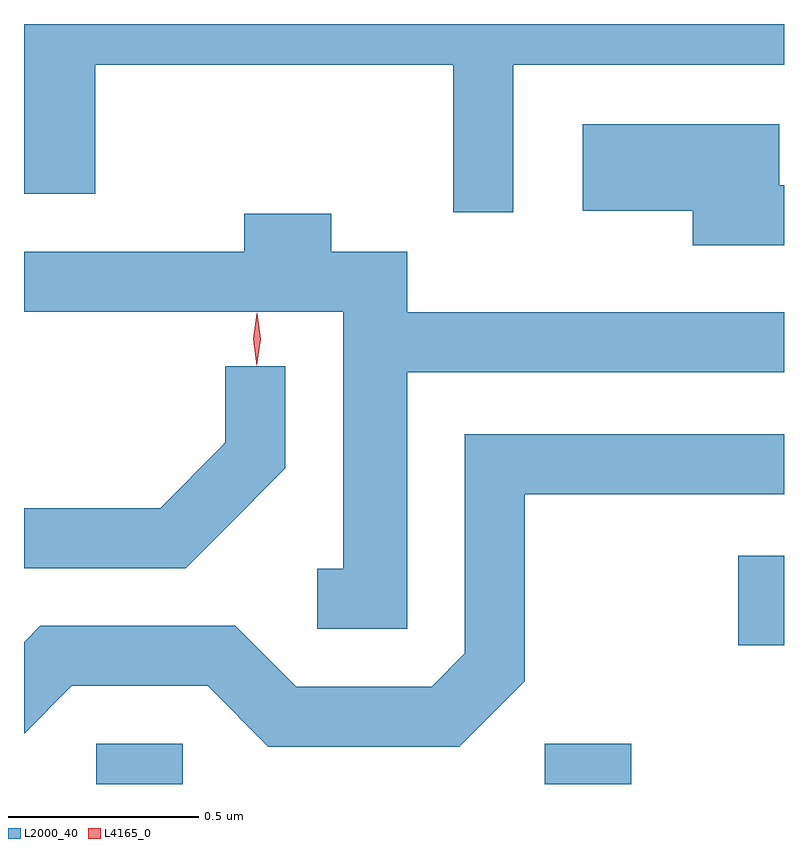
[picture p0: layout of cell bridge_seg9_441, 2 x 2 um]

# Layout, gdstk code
import gdstk
lib = gdstk.Library(unit=1e-6, precision=1e-09)
def R(c, l, rs):  # rectangles x0, y0, x1, y1
    for r in rs: c.add(gdstk.rectangle(r[:2], r[2:], *l))
def P(c, l, *ps):  # polygons
    for p in ps: c.add(gdstk.Polygon(p, *l))
L2000_40 = (2000, 40)
L4165_0 = (4165, 0)

bridge_seg9_441 = lib.new_cell('bridge_seg9_441')
R(bridge_seg9_441, L2000_40, [(523.681,2025.443,523.909,2025.549), (524.861,2025.443,525.089,2025.549), (525.371,2025.808,525.491,2026.044)])
P(bridge_seg9_441, L2000_40, [(524.779,2027.336),(525.491,2027.336),(525.491,2027.443),(523.491,2027.443),(523.491,2026.996),(523.679,2026.996),(523.679,2027.336),(524.621,2027.336),(524.621,2026.948),(524.779,2026.948)],
  [(525.491,2027.019),(525.479,2027.019),(525.479,2027.179),(524.961,2027.179),(524.961,2026.951),(525.251,2026.951),(525.251,2026.861),(525.491,2026.861)],
  [(524.499,2026.526),(525.491,2026.526),(525.491,2026.684),(524.499,2026.684),(524.499,2026.844),(524.299,2026.844),(524.299,2026.944),(524.071,2026.944),(524.071,2026.844),(523.491,2026.844),(523.491,2026.686),(524.331,2026.686),(524.331,2026.009),(524.263,2026.009),(524.263,2025.851),(524.499,2025.851)],
  [(524.013,2026.107),(524.179,2026.274),(524.179,2026.543),(524.021,2026.543),(524.021,2026.342),(524.013,2026.333),(523.849,2026.169),(523.491,2026.169),(523.491,2026.011),(523.917,2026.011)],
  [(524.809,2025.714),(524.809,2026.206),(525.491,2026.206),(525.491,2026.364),(524.651,2026.364),(524.651,2025.787),(524.564,2025.699),(524.207,2025.699),(524.047,2025.859),(523.534,2025.859),(523.491,2025.816),(523.491,2025.575),(523.617,2025.701),(523.974,2025.701),(524.134,2025.541),(524.637,2025.541)])
P(bridge_seg9_441, L4165_0, [(524.103,2026.543),(524.103,2026.544),(524.094,2026.613),(524.104,2026.682),(524.105,2026.682),(524.105,2026.682),(524.114,2026.613),(524.104,2026.544)])

lib.write_gds('bridge_seg9_441.gds')
